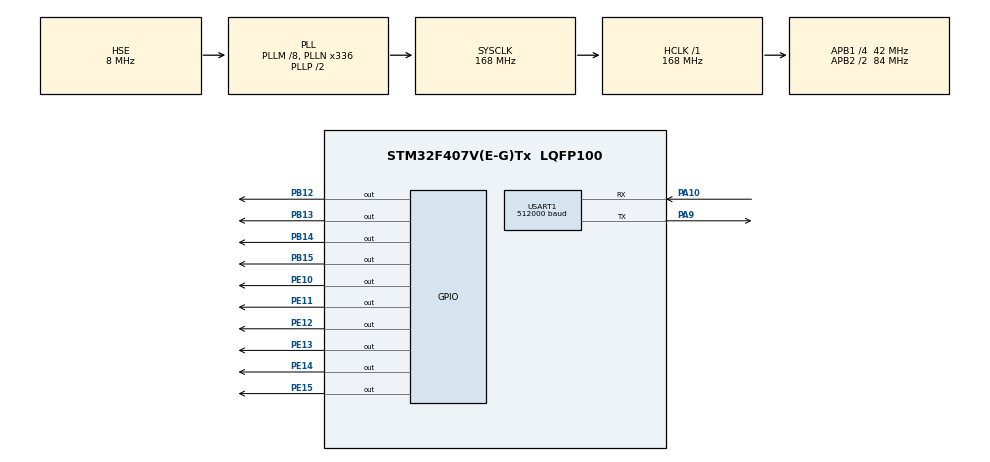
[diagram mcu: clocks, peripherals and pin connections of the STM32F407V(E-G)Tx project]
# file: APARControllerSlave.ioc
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Dma.Request0=USART1_RX
Dma.Request1=USART1_TX
Dma.USART1_RX.0.Direction=DMA_PERIPH_TO_MEMORY
Dma.USART1_RX.0.FIFOMode=DMA_FIFOMODE_DISABLE
Dma.USART1_RX.0.Instance=DMA2_Stream2
Dma.USART1_RX.0.MemDataAlignment=DMA_MDATAALIGN_BYTE
Dma.USART1_RX.0.MemInc=DMA_MINC_ENABLE
Dma.USART1_RX.0.Mode=DMA_NORMAL
Dma.USART1_RX.0.PeriphDataAlignment=DMA_PDATAALIGN_BYTE
Dma.USART1_RX.0.PeriphInc=DMA_PINC_DISABLE
Dma.USART1_RX.0.Priority=DMA_PRIORITY_LOW
Dma.USART1_TX.1.Direction=DMA_MEMORY_TO_PERIPH
Dma.USART1_TX.1.FIFOMode=DMA_FIFOMODE_DISABLE
Dma.USART1_TX.1.Instance=DMA2_Stream7
Dma.USART1_TX.1.MemDataAlignment=DMA_MDATAALIGN_BYTE
Dma.USART1_TX.1.MemInc=DMA_MINC_ENABLE
Dma.USART1_TX.1.Mode=DMA_NORMAL
Dma.USART1_TX.1.PeriphDataAlignment=DMA_PDATAALIGN_BYTE
Dma.USART1_TX.1.PeriphInc=DMA_PINC_DISABLE
Dma.USART1_TX.1.Priority=DMA_PRIORITY_LOW
Mcu.Family=STM32F4
Mcu.Name=STM32F407V(E-G)Tx
Mcu.Package=LQFP100
NVIC.DMA2_Stream2_IRQn=true\:0\:0\:false\:false\:true\:false\:true\:true
NVIC.DMA2_Stream7_IRQn=true\:0\:0\:false\:false\:true\:false\:true\:true
NVIC.PriorityGroup=NVIC_PRIORITYGROUP_4
NVIC.TIM1_BRK_TIM9_IRQn=true\:0\:0\:false\:false\:true\:true\:true\:true
NVIC.USART1_IRQn=true\:0\:0\:false\:false\:true\:true\:true\:true
PA10.Mode=Asynchronous
PA10.Signal=USART1_RX
PA9.Mode=Asynchronous
PA9.Signal=USART1_TX
PB12.Signal=GPIO_Output
PB13.Signal=GPIO_Output
PB14.Signal=GPIO_Output
PB15.Signal=GPIO_Output
PE10.Signal=GPIO_Output
PE11.Signal=GPIO_Output
PE12.Signal=GPIO_Output
PE13.Signal=GPIO_Output
PE14.Signal=GPIO_Output
PE15.Signal=GPIO_Output
PH0-OSC_IN.Mode=HSE-External-Oscillator
PH0-OSC_IN.Signal=RCC_OSC_IN
PH1-OSC_OUT.Mode=HSE-External-Oscillator
PH1-OSC_OUT.Signal=RCC_OSC_OUT
ProjectManager.HeapSize=0x200
ProjectManager.StackSize=0x400
ProjectManager.TargetToolchain=STM32CubeIDE
RCC.48MHZClocksFreq_Value=84000000
RCC.AHBFreq_Value=168000000
RCC.APB1CLKDivider=RCC_HCLK_DIV4
RCC.APB1Freq_Value=42000000
RCC.APB1TimFreq_Value=84000000
RCC.APB2CLKDivider=RCC_HCLK_DIV2
RCC.APB2Freq_Value=84000000
RCC.APB2TimFreq_Value=168000000
RCC.CortexFreq_Value=168000000
RCC.HCLKFreq_Value=168000000
RCC.HSE_VALUE=8000000
RCC.HSI_VALUE=16000000
RCC.LSE_VALUE=32768
RCC.PLLM=8
RCC.PLLN=336
RCC.PLLSourceVirtual=RCC_PLLSOURCE_HSE
RCC.SYSCLKFreq_VALUE=168000000
RCC.SYSCLKSource=RCC_SYSCLKSOURCE_PLLCLK
RCC.VCOOutputFreq_Value=336000000
TIM9.AutoReloadPreload=TIM_AUTORELOAD_PRELOAD_ENABLE
TIM9.Period=99
TIM9.Prescaler=8399
USART1.BaudRate=512000
USART1.VirtualMode=VM_ASYNC
VP_TIM9_VS_ClockSourceINT.Mode=Internal
board=custom

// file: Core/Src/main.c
/* USER CODE BEGIN Header */
/**
  ******************************************************************************
  * @file           : main.c
  * @brief          : Main program body
  ******************************************************************************
  * @attention
  *
  * Copyright (c) 2023 STMicroelectronics.
  * All rights reserved.
  *
  * This software is licensed under terms that can be found in the LICENSE file
  * in the root directory of this software component.
  * If no LICENSE file comes with this software, it is provided AS-IS.
  *
  ******************************************************************************
  */
/* USER CODE END Header */
#include "main.h"
#include "dma.h"
#include "tim.h"
#include "usart.h"
#include "gpio.h"

/* USER CODE BEGIN Includes */
#include <memory.h>
#include "bsp_mempool.h"
#include "bsp_handler.h"
#include "bsp_executions.h"
/* USER CODE END Includes */

/* USER CODE BEGIN PV */
volatile uint8_t g_recv_flag = 0;
/* USER CODE END PV */

void SystemClock_Config(void);

int main(void)
{
  /* USER CODE BEGIN 1 */
    HAL_RCC_DeInit();
  /* USER CODE END 1 */

  /* MCU Configuration--------------------------------------------------------*/

  /* Reset of all peripherals, Initializes the Flash interface and the Systick. */
  HAL_Init();

  /* USER CODE BEGIN Init */

    /* fsm initialize */
    fsmInit(&g_fsm); // init the fsm
    g_fsm.state = STATE_IDLE;

    memset(g_recvBuffer,0,1024*sizeof(uint8_t));

    /* register fsm event functions*/
    fsmEventRegister(&g_fsm,recvHandler,STATE_IDLE,EVENT_PROCESS);
    fsmEventRegister(&g_fsm,parseHandler,STATE_PARSE,EVENT_PROCESS);
    fsmEventRegister(&g_fsm,execHandler,STATE_EXEC,EVENT_PROCESS);
    fsmEventRegister(&g_fsm,parseErrorHandler,STATE_PARSE_ERROR,EVENT_PROCESS);
    fsmEventRegister(&g_fsm,execErrorHandler,STATE_EXEC_ERROR,EVENT_PROCESS);

    /* register fsm exec functions */
    registerExecFn(inputPE44820,INPUT_PE44820);
    registerExecFn(inputPE43703,INPUT_PE43703);
    registerExecFn(inputPE44820WithSpi,INPUT_PE44820_SPI);
    registerExecFn(inputPE43703WithSpi,INPUT_PE43703_SPI);
  /* USER CODE END Init */

  /* Configure the system clock */
  SystemClock_Config();

  /* Initialize all configured peripherals */
  MX_GPIO_Init();
  MX_DMA_Init();
  MX_USART1_UART_Init();
  MX_TIM9_Init();
  /* USER CODE BEGIN 2 */
    __HAL_UART_ENABLE_IT(&huart1,UART_IT_IDLE); // enable uart interrupt
    HAL_UART_Receive_DMA(&huart1,g_recvBuffer,BUFFER_SIZE); // enable the dma recv.
  /* USER CODE END 2 */

  /* Infinite loop */
  while (1)
  {

    /* USER CODE BEGIN 3 */
      switch (g_fsm.state) {
          case STATE_IDLE:
              if(g_recv_flag == 1){
                  fsmEventHandle(&g_fsm, EVENT_PROCESS);
                  g_recv_flag = 0;
              }
              break;
          case STATE_PARSE:
              fsmEventHandle(&g_fsm,EVENT_PROCESS);
              break;
          case STATE_EXEC:
              fsmEventHandle(&g_fsm,EVENT_PROCESS);
              break;
          case STATE_PARSE_ERROR:
              fsmEventHandle(&g_fsm, EVENT_PROCESS);
              break;
          case STATE_EXEC_ERROR:
              fsmEventHandle(&g_fsm,EVENT_PROCESS);
      }
  }
  /* USER CODE END 3 */
}

void SystemClock_Config(void)
{
  RCC_OscInitTypeDef RCC_OscInitStruct = {0};
  RCC_ClkInitTypeDef RCC_ClkInitStruct = {0};

  /** Configure the main internal regulator output voltage
  */
  __HAL_RCC_PWR_CLK_ENABLE();
  __HAL_PWR_VOLTAGESCALING_CONFIG(PWR_REGULATOR_VOLTAGE_SCALE1);

  /** Initializes the RCC Oscillators according to the specified parameters
  * in the RCC_OscInitTypeDef structure.
  */
  RCC_OscInitStruct.OscillatorType = RCC_OSCILLATORTYPE_HSE;
  RCC_OscInitStruct.HSEState = RCC_HSE_ON;
  RCC_OscInitStruct.PLL.PLLState = RCC_PLL_ON;
  RCC_OscInitStruct.PLL.PLLSource = RCC_PLLSOURCE_HSE;
  RCC_OscInitStruct.PLL.PLLM = 8;
  RCC_OscInitStruct.PLL.PLLN = 336;
  RCC_OscInitStruct.PLL.PLLP = RCC_PLLP_DIV2;
  RCC_OscInitStruct.PLL.PLLQ = 4;
  if (HAL_RCC_OscConfig(&RCC_OscInitStruct) != HAL_OK)
  {
    Error_Handler();
  }

  /** Initializes the CPU, AHB and APB buses clocks
  */
  RCC_ClkInitStruct.ClockType = RCC_CLOCKTYPE_HCLK|RCC_CLOCKTYPE_SYSCLK
                              |RCC_CLOCKTYPE_PCLK1|RCC_CLOCKTYPE_PCLK2;
  RCC_ClkInitStruct.SYSCLKSource = RCC_SYSCLKSOURCE_PLLCLK;
  RCC_ClkInitStruct.AHBCLKDivider = RCC_SYSCLK_DIV1;
  RCC_ClkInitStruct.APB1CLKDivider = RCC_HCLK_DIV4;
  RCC_ClkInitStruct.APB2CLKDivider = RCC_HCLK_DIV2;

  if (HAL_RCC_ClockConfig(&RCC_ClkInitStruct, FLASH_LATENCY_5) != HAL_OK)
  {
    Error_Handler();
  }
}

/* USER CODE BEGIN 4 */
void HAL_Delay_Us(uint16_t time){
    HAL_SYSTICK_Config(HAL_RCC_GetHCLKFreq()/1000000);
    HAL_Delay(time - 1);
    HAL_SYSTICK_Config(HAL_RCC_GetHCLKFreq()/1000);
}
/* USER CODE END 4 */

void Error_Handler(void)
{
  __disable_irq();
  while (1)
  {
  }
}
